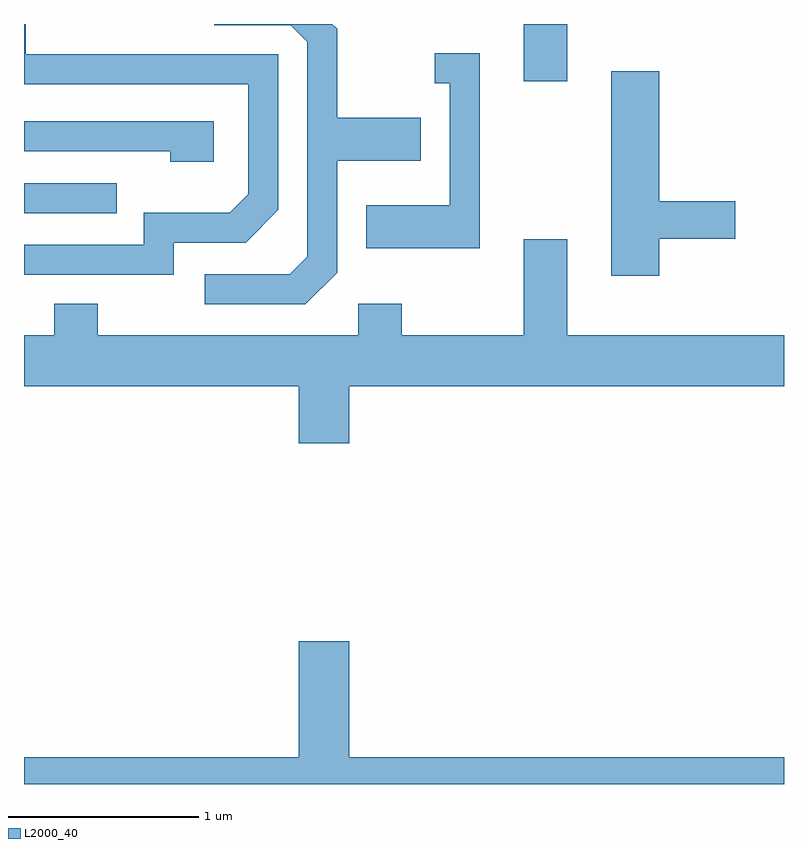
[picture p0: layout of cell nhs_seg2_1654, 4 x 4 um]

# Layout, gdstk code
import gdstk
lib = gdstk.Library(unit=1e-6, precision=1e-09)
def R(c, l, rs):  # rectangles x0, y0, x1, y1
    for r in rs: c.add(gdstk.rectangle(r[:2], r[2:], *l))
def P(c, l, *ps):  # polygons
    for p in ps: c.add(gdstk.Polygon(p, *l))
L2000_40 = (2000, 40)

nhs_seg2_1654 = lib.new_cell('nhs_seg2_1654')
R(nhs_seg2_1654, L2000_40, [(233.611,1024.806,234.098,1024.964), (236.241,1025.501,236.469,1025.802)])
P(nhs_seg2_1654, L2000_40, [(235.259,1024.494),(235.259,1025.081),(235.699,1025.081),(235.699,1025.309),(235.259,1025.309),(235.259,1025.777),(235.234,1025.802),(234.613,1025.802),(234.613,1025.796),(235.014,1025.796),(235.101,1025.709),(235.101,1024.577),(235.009,1024.484),(234.563,1024.484),(234.563,1024.326),(235.092,1024.326)],
  [(234.399,1024.651),(234.777,1024.651),(234.949,1024.824),(234.949,1025.644),(233.619,1025.644),(233.619,1025.802),(233.611,1025.802),(233.611,1025.486),(234.791,1025.486),(234.791,1024.907),(234.694,1024.809),(234.241,1024.809),(234.241,1024.639),(233.611,1024.639),(233.611,1024.481),(234.399,1024.481)],
  [(236.009,1025.649),(235.773,1025.649),(235.773,1025.491),(235.851,1025.491),(235.851,1024.849),(235.411,1024.849),(235.411,1024.621),(236.009,1024.621)],
  [(236.954,1024.671),(237.354,1024.671),(237.354,1024.869),(236.954,1024.869),(236.954,1025.554),(236.701,1025.554),(236.701,1024.476),(236.954,1024.476)],
  [(234.609,1025.289),(233.611,1025.289),(233.611,1025.131),(234.381,1025.131),(234.381,1025.076),(234.609,1025.076)],
  [(235.324,1023.896),(237.611,1023.896),(237.611,1024.164),(236.469,1024.164),(236.469,1024.669),(236.241,1024.669),(236.241,1024.164),(235.599,1024.164),(235.599,1024.329),(235.371,1024.329),(235.371,1024.164),(233.999,1024.164),(233.999,1024.329),(233.771,1024.329),(233.771,1024.164),(233.611,1024.164),(233.611,1023.896),(235.056,1023.896),(235.056,1023.596),(235.324,1023.596)],
  [(237.611,1021.944),(235.324,1021.944),(235.324,1022.554),(235.056,1022.554),(235.056,1021.944),(233.611,1021.944),(233.611,1021.802),(237.611,1021.802)])

lib.write_gds('nhs_seg2_1654.gds')
